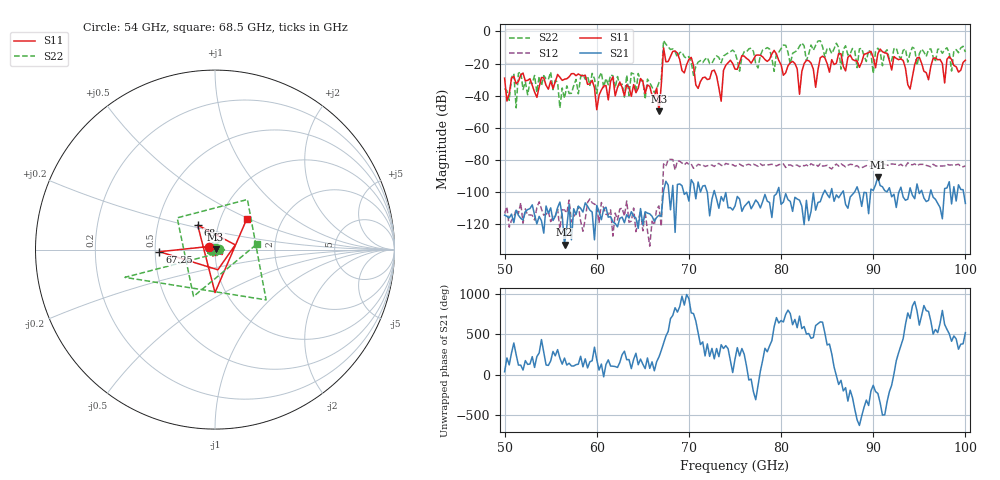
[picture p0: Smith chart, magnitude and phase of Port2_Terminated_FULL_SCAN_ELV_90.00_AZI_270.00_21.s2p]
! 11/25/2026 1:47:56 PM
! C:\ANRITSUVNA\TEMP\TEMP.S2P
! CHANNEL.1
! TR.MEASUREMENT
! RAW.DATA
# HZ S RI R 50.0
! FREQ.HZ  S11RE  S11IM  S21RE  S21IM  S12RE  S12IM  S22RE  S22IM
!; PortSelection: Port_12
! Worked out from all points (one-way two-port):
!   201 points, 50 GHz to 100 GHz, reference 50 ohm
!   highest |S21| = -90.83 dB at 90.5 GHz (marker M1); lowest = -133.0 dB at 56.5 GHz (marker M2)
!   lowest |S11| = -49.7 dB at 66.75 GHz (marker M3), VSWR 1.01, Z = 50.3 + j0.0706 ohm
!   |S11| at or under -10 dB: start of sweep to end of sweep
!   |S22| runs from -47.8 to -5.6 dB; largest |S21 - S12| = 0.00011
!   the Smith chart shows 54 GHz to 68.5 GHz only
!   S11 on the Smith chart (normalised r, x): 54 GHz: 0.93, +0.03; 67.25 GHz: 0.53, -0.01; 68 GHz: 0.80, +0.22; 68.5 GHz: 1.33, +0.49
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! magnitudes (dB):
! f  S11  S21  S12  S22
! 50 GHz  -29.1  -114.6  -113.5  -35.6
! 54 GHz  -28.7  -118.2  -110.9  -33.8
! 56.5 GHz  -29.8  -133.0  -111.3  -41.8
! 58.5 GHz  -27.7  -112.7  -124.7  -26.8
! 60 GHz  -48.8  -108.6  -108.6  -38.7
! 61.75 GHz  -28.4  -118.9  -127.7  -27.6
! 66.75 GHz  -49.7  -114.7  -108.9  -31.9
! 67.25 GHz  -10.2  -99.5  -82.7  -5.6
! 68 GHz  -15.5  -111.3  -79.8  -11.2
! 68.5 GHz  -12.1  -125.4  -86.5  -12.6
! 73.5 GHz  -43.5  -103.0  -83.5  -19.6
! 73.75 GHz  -24.3  -105.8  -84.0  -15.3
! 75 GHz  -23.5  -108.9  -84.0  -13.0
! 79.25 GHz  -11.8  -102.6  -83.2  -24.9
! 82 GHz  -39.2  -105.3  -84.3  -9.2
! 83.5 GHz  -23.5  -100.7  -83.4  -11.7
! 90 GHz  -16.3  -99.2  -83.2  -26.2
! 90.5 GHz  -13.9  -90.8  -84.8  -10.4
! 91.75 GHz  -18.1  -97.5  -83.6  -17.5
! 94 GHz  -35.9  -97.6  -83.1  -13.7
! 94.75 GHz  -16.5  -95.1  -83.8  -21.1
! 100 GHz  -17.9  -107.3  -83.9  -12.8
